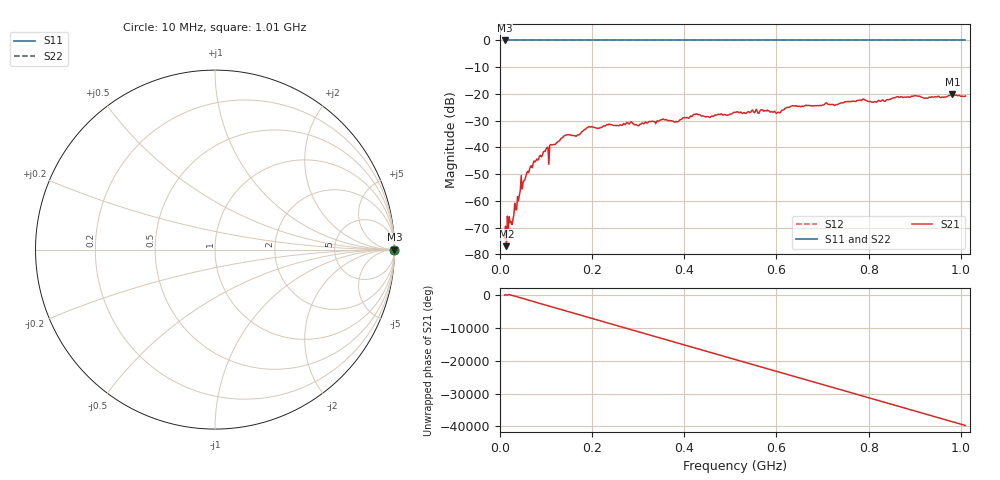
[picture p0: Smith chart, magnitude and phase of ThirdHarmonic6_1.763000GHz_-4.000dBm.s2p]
! 8/16/2025 9:16:57 PM
! C:\ANRITSUVNA\TEMP\TEMP.S2P
! CHANNEL.1
! TR.MEASUREMENT
! RAW.DATA
! RF.CORRECTION.OFF
! AVERAGING.OFF
! IF.BANDWIDTH: 5KHZ
! SWEEPTYPE:  FREQ.SWEEP(Linear)
! Reference Plane Port Info
! PORT:  PORT1  PORT2
! DISTANCE:  0  m  0  m
! TIME:  0  s  0  s
! PHASE.OFFSET:  0  deg.  0  deg.
! LOSS:  0  dB  0  dB
! REF.LOSS:  0  dB  0  dB
! REF.FREQ:  0  Hz  0  Hz
! Power Info
! POWER:  -20  dBm  -20  dBm
! EFF.POWER:  -20  dBm  -20  dBm
! SOURCE.ATTEN:  0  dB  0  dB
! TEST.ATTEN:  0  dB  0  dB
# GHZ S RI R 50.0
! FREQ.GHZ  S11RE  S11IM  S21RE  S21IM  S12RE  S12IM  S22RE  S22IM
!; PortSelection: Port_12
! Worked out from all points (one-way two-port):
!   501 points, 10 MHz to 1.01 GHz, reference 50 ohm
!   highest |S21| = -20.15 dB at 982 MHz (marker M1); lowest = -77.0 dB at 14 MHz (marker M2)
!   lowest |S11| = 0.0 dB at 10 MHz (marker M3)
!   |S11| at or under -10 dB: nowhere
!   |S22| runs from 0.0 to 0.0 dB; largest |S21 - S12| = 1.1
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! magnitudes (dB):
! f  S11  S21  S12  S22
! 10 MHz  0.0  -74.0  0.0  0.0
! 14 MHz  0.0  -77.0  0.0  0.0
! 20 MHz  0.0  -66.0  0.0  0.0
! 26 MHz  0.0  -68.9  0.0  0.0
! 48 MHz  0.0  -55.6  0.0  0.0
! 76 MHz  0.0  -45.5  0.0  0.0
! 100 MHz  0.0  -40.6  0.0  0.0
! 142 MHz  0.0  -35.4  0.0  0.0
! 168 MHz  0.0  -35.3  0.0  0.0
! 178 MHz  0.0  -34.1  0.0  0.0
! 194 MHz  0.0  -32.2  0.0  0.0
! 344 MHz  0.0  -30.3  0.0  0.0
! 382 MHz  0.0  -30.3  0.0  0.0
! 424 MHz  0.0  -27.7  0.0  0.0
! 452 MHz  0.0  -28.5  0.0  0.0
! 510 MHz  0.0  -26.9  0.0  0.0
! 604 MHz  0.0  -26.9  0.0  0.0
! 634 MHz  0.0  -24.4  0.0  0.0
! 678 MHz  0.0  -24.5  0.0  0.0
! 844 MHz  0.0  -22.1  0.0  0.0
! 982 MHz  0.0  -20.2  0.0  0.0
! 1.01 GHz  0.0  -20.8  0.0  0.0
